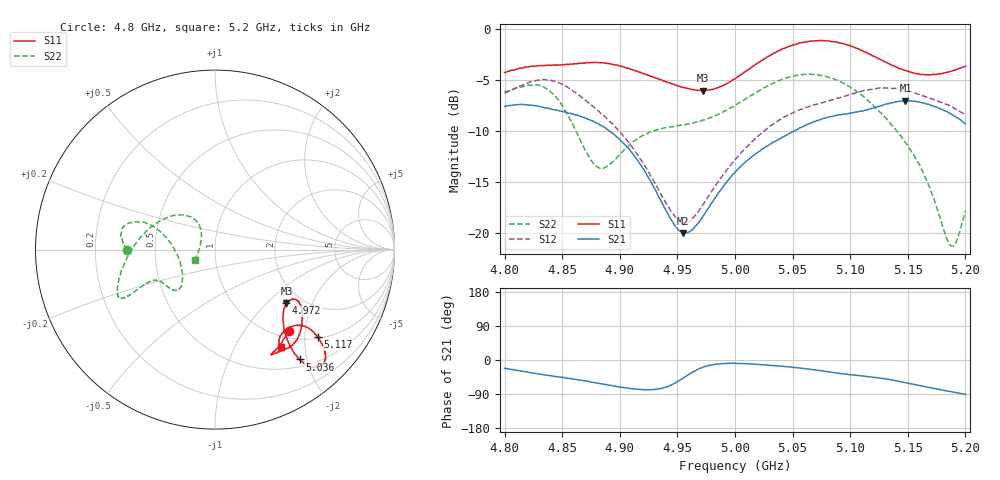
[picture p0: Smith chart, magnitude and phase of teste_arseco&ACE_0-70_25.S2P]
! Network Analyzer HP8722D
! Hewlett-Packard
! Data name: Linha & Wilkinson
! Saver's name: Rodrigo Anjos
! Comments: Teste da utilização de aquisição
! continua pelo VNA HP8722D
! Time and date: 8/5/2025 12:58
!  Frequency  S11  S21  S12  S22
# HZ  S  MA R 50
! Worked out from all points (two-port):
!   401 points, 4.8 GHz to 5.2 GHz, reference 50 ohm
!   highest |S21| = -7.05 dB at 5.148 GHz (marker M1); lowest = -20.0 dB at 4.955 GHz (marker M2)
!   |S21| within 3 dB of the highest: start of sweep to 4.891 GHz; 5.051 GHz to end of sweep
!   lowest |S11| = -6.1 dB at 4.972 GHz (marker M3), VSWR 2.98, Z = 83.1 - j66.2 ohm
!   |S11| at or under -10 dB: nowhere
!   |S22| runs from -21.3 to -4.4 dB; largest |S21 - S12| = 0.95
!   S11 on the Smith chart (normalised r, x): 4.8 GHz: 1.14, -1.64; 4.972 GHz: 1.66, -1.32; 5.036 GHz: 0.62, -1.87; 5.117 GHz: 1.04, -2.32; 5.2 GHz: 0.82, -1.57
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4.8e9  0.6112 -47.8  0.4163 -22.0  0.4861 -175.6  0.4918 -180.0
4.82e9  0.6503 -58.1  0.4241 -32.1  0.5432 177.3  0.53 171.9
4.836e9  0.662 -61.4  0.4097 -39.8  0.5626 168.3  0.5099 163.9
4.851e9  0.6675 -59.7  0.3928 -46.4  0.5305 158.6  0.4118 158.9
4.867e9  0.6778 -54.7  0.3704 -53.8  0.4602 150.7  0.2737 167.0
4.877e9  0.6851 -51.5  0.3519 -59.0  0.4153 147.2  0.2189 -177.0
4.885e9  0.6815 -49.0  0.3332 -63.2  0.3801 144.3  0.2056 -160.5
4.91e9  0.6324 -40.1  0.2488 -75.6  0.266 137.6  0.2749 -133.0
4.934e9  0.5679 -32.9  0.1497 -76.2  0.1616 141.3  0.3217 -135.4
4.955e9  0.5165 -32.2  0.09964 -47.6  0.112 170.7  0.3378 -144.0
4.972e9  0.498 -37.0  0.1201 -19.2  0.1364 -161.0  0.3574 -150.5
5e9  0.5689 -47.9  0.1976 -8.8  0.2281 -146.7  0.4218 -153.9
5.036e9  0.7725 -52.4  0.2831 -15.4  0.3489 -147.4  0.5505 -151.7
5.067e9  0.873 -48.3  0.3476 -25.2  0.4214 -154.4  0.5981 -155.0
5.095e9  0.8434 -43.5  0.3819 -37.1  0.4675 -162.2  0.5388 -166.4
5.117e9  0.7507 -40.3  0.4045 -44.2  0.504 -172.5  0.4361 174.2
5.134e9  0.6736 -40.2  0.4313 -51.5  0.5121 177.4  0.3489 153.2
5.148e9  0.6259 -42.6  0.4442 -59.9  0.4979 169.5  0.2766 135.7
5.166e9  0.5965 -48.3  0.4289 -71.0  0.4627 161.4  0.1823 122.8
5.187e9  0.6186 -54.7  0.3833 -83.3  0.4173 153.9  0.0867 159.0
5.192e9  0.6324 -55.7  0.3687 -86.0  0.4033 152.1  0.08976 -178.0
5.2e9  0.6564 -55.7  0.3419 -90.5  0.378 149.5  0.1283 -152.1
